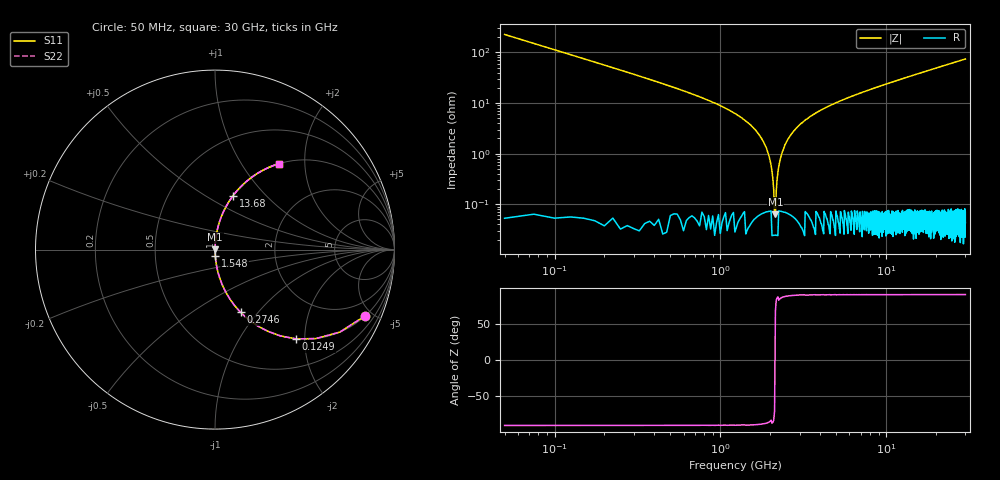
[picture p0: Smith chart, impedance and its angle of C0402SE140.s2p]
!	AVX Thin Film Operation 	Date: April 2014
!	Description: Accu-P® Series, Thin Film  SMD RF Capacitor
!	Part Number: 04023K140FBSTR
# MHZ S MA R 50
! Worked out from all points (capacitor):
!   1201 points, 50 MHz to 30 GHz, reference 50 ohm
!   read as one part in series: C = 14 pF near 199.8 MHz
!   lowest |Z| = 62.9 mohm at 2.147 GHz (marker M1)
!   series resonance near 2.135 GHz, so ESL is about 400 pH
!   S11 on the Smith chart (normalised r, x): 50 MHz: 1.00, -4.54; 124.9 MHz: 1.00, -1.82; 274.6 MHz: 1.00, -0.81; 1.548 GHz: 1.00, -0.07; 13.68 GHz: 1.00, +0.67; 30 GHz: 1.00, +1.49
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50  0.915 -23.8  0.403 66.2  0.403 66.2  0.915 -23.8
124.875  0.672 -47.8  0.74 42.2  0.74 42.2  0.672 -47.8
274.625  0.377 -67.8  0.926 22.1  0.926 22.1  0.377 -67.8
424.375  0.249 -75.5  0.968 14.4  0.968 14.4  0.249 -75.5
698.917  0.144 -81.5  0.989 8.3  0.989 8.3  0.144 -81.5
1547.5  0.035 -87.2  0.999 2.0  0.999 2.0  0.035 -87.2
1822.042  0.017 -87.4  0.999 1.0  0.999 1.0  0.017 -87.4
1921.875  0.011 -86.9  0.999 0.6  0.999 0.6  0.011 -86.9
2021.708  0.005817 -84.8  0.999 0.3  0.999 0.3  0.005817 -84.8
2146.5  0.000761 49.9  1 -0.0  1 -0.0  0.000761 49.9
2246.333  0.005446 84.5  0.999 -0.3  0.999 -0.3  0.005446 84.5
2346.167  0.01 86.6  0.999 -0.6  0.999 -0.6  0.01 86.6
2470.958  0.016 87.3  0.999 -0.9  0.999 -0.9  0.016 87.3
2920.208  0.034 87.2  0.999 -1.9  0.999 -1.9  0.034 87.2
3768.792  0.064 85.9  0.997 -3.7  0.997 -3.7  0.064 85.9
5041.667  0.103 83.8  0.994 -5.9  0.994 -5.9  0.103 83.8
10058.29  0.233 76.4  0.972 -13.5  0.972 -13.5  0.233 76.4
13677.25  0.316 71.5  0.948 -18.4  0.948 -18.4  0.316 71.5
15025  0.345 69.8  0.938 -20.2  0.938 -20.2  0.345 69.8
20016.67  0.442 63.7  0.896 -26.3  0.896 -26.3  0.442 63.7
25033.29  0.527 58.2  0.85 -31.8  0.85 -31.8  0.527 58.2
30000  0.597 53.3  0.802 -36.7  0.802 -36.7  0.597 53.3
